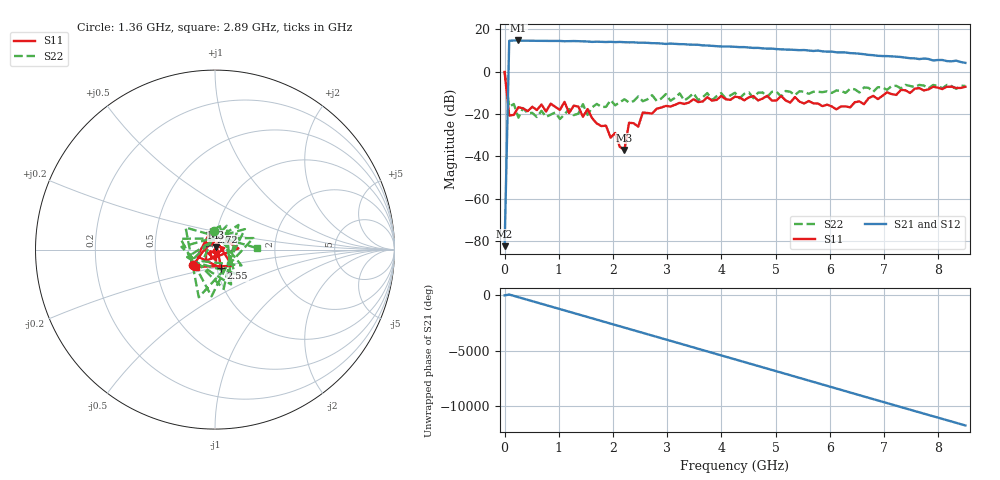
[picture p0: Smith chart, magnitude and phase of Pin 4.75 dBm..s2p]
! RsaToolbox (C) 2013 Rohde & Schwarz America
! Number of points: 101
! Number of ports: 2
! Balanced ports?: 0
# Hz S RI R 50
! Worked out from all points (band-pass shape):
!   101 points, 9 kHz to 8.5 GHz, reference 50 ohm
!   highest |S21| = 14.77 dB at 255 MHz (marker M1); lowest = -82.4 dB at 9 kHz (marker M2)
!   |S21| within 3 dB of the highest: 82.52 MHz to 4.25 GHz (4.167 GHz wide, 192 % of centre)
!   lowest |S11| = -36.9 dB at 2.21 GHz (marker M3), VSWR 1.03, Z = 50.5 + j1.35 ohm
!   |S11| at or under -10 dB: 40.94 MHz to 7.041 GHz (7 GHz wide, 198 % of centre); 7.082 GHz to 7.259 GHz (176.7 MHz wide, 2.46 % of centre); 7.47722 GHz to 7.481742 GHz (4.522 MHz wide, 0.0605 % of centre)
!   |S22| runs from -22.3 to 0.0 dB; largest |S21 - S12| = 0
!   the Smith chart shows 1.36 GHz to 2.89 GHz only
!   S11 on the Smith chart (normalised r, x): 1.36 GHz: 0.77, -0.14; 2.55 GHz: 1.05, -0.22; 2.72 GHz: 0.93, +0.19; 2.89 GHz: 0.79, -0.15
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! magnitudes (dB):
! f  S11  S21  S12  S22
! 9 kHz  -0.1  -82.4  -82.4  0.0
! 85.01 MHz  -20.7  14.6  14.6  -16.5
! 170 MHz  -20.4  14.7  14.7  -15.2
! 255 MHz  -16.7  14.8  14.8  -21.7
! 340 MHz  -17.3  14.7  14.7  -17.2
! 595 MHz  -18.1  14.6  14.6  -21.4
! 1.36 GHz  -16.5  14.4  14.4  -19.8
! 1.445 GHz  -21.2  14.4  14.4  -15.3
! 1.53 GHz  -17.6  14.3  14.3  -20.4
! 1.7 GHz  -24.4  14.2  14.2  -15.2
! 2.04 GHz  -28.9  14.0  14.0  -15.9
! 2.21 GHz  -36.9  13.9  13.9  -13.0
! 2.295 GHz  -24.1  13.9  13.9  -14.5
! 2.465 GHz  -25.9  13.7  13.7  -11.7
! 2.55 GHz  -19.3  13.7  13.7  -13.9
! 2.72 GHz  -19.7  13.5  13.5  -11.0
! 2.89 GHz  -16.9  13.3  13.3  -12.7
! 4.25 GHz  -11.8  11.8  11.8  -9.9
! 5.695 GHz  -14.9  9.8  9.8  -9.5
! 6.12 GHz  -17.8  9.2  9.2  -8.8
! 7.14 GHz  -10.6  7.2  7.2  -6.8
! 8.5 GHz  -7.1  4.2  4.2  -6.7
